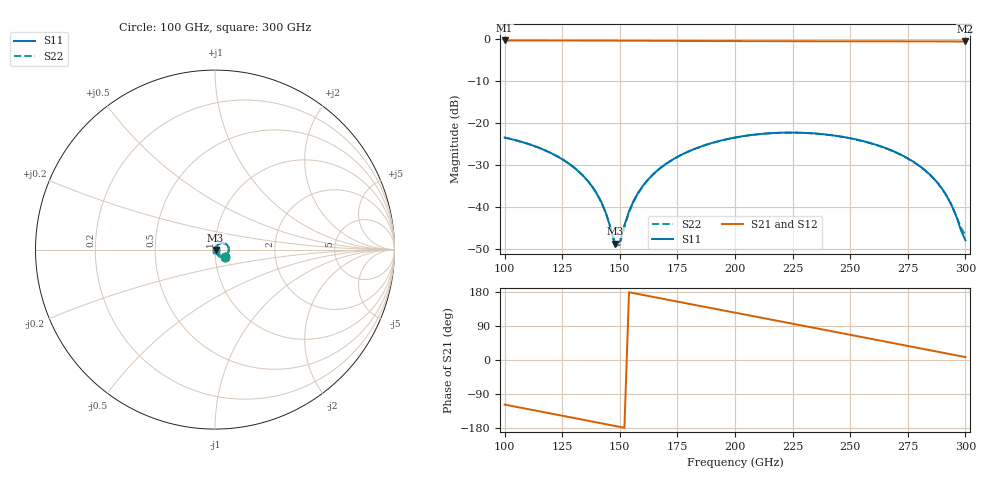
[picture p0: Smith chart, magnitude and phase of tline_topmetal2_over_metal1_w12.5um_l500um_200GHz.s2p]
#  GHZ S DB R 50
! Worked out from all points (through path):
!   101 points, 100 GHz to 300 GHz, reference 50 ohm
!   highest |S21| = -0.30 dB at 100 GHz (marker M1); lowest = -0.5 dB at 300 GHz (marker M2)
!   group delay of S21, straight-line fit = 3.26 ps
!   lowest |S11| = -48.7 dB at 148 GHz (marker M3), VSWR 1.01, Z = 50.3 - j0.145 ohm
!   |S11| at or under -10 dB: start of sweep to end of sweep
!   |S22| runs from -49.3 to -22.3 dB; largest |S21 - S12| = 1.1e-14
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100  -23.44 -36.6  -0.30 -117.7  -0.30 -117.7  -23.43 -36.9
120  -27.10 -56.8  -0.31 -141.2  -0.31 -141.2  -27.08 -57.2
134  -32.49 -68.3  -0.32 -157.6  -0.32 -157.6  -32.46 -69.1
138  -35.10 -69.8  -0.33 -162.4  -0.33 -162.4  -35.07 -70.8
142  -38.84 -68.0  -0.33 -167.1  -0.33 -167.1  -38.82 -69.6
144  -41.47 -63.7  -0.34 -169.4  -0.34 -169.4  -41.49 -65.9
148  -48.73 -23.2  -0.34 -174.1  -0.34 -174.1  -49.30 -26.7
150  -48.21 24.6  -0.35 -176.5  -0.35 -176.5  -48.94 25.3
154  -41.01 59.0  -0.35 178.8  -0.35 178.8  -41.22 60.5
158  -36.54 63.9  -0.36 174.1  -0.36 174.1  -36.64 64.9
162  -33.58 63.4  -0.37 169.4  -0.37 169.4  -33.64 64.1
168  -30.50 59.7  -0.38 162.3  -0.38 162.3  -30.54 60.2
182  -26.23 46.9  -0.41 145.9  -0.41 145.9  -26.25 47.2
200  -23.42 27.9  -0.45 124.9  -0.45 124.9  -23.44 28.1
218  -22.31 7.9  -0.47 103.9  -0.47 103.9  -22.33 8.0
234  -22.43 -10.1  -0.49 85.2  -0.49 85.2  -22.45 -9.9
250  -23.59 -27.8  -0.50 66.5  -0.50 66.5  -23.61 -27.5
268  -26.52 -46.9  -0.51 45.3  -0.51 45.3  -26.54 -46.4
280  -30.16 -58.1  -0.52 31.2  -0.52 31.2  -30.20 -57.2
288  -34.27 -62.7  -0.53 21.8  -0.53 21.8  -34.30 -61.0
294  -39.53 -59.2  -0.53 14.7  -0.53 14.7  -39.48 -55.9
300  -47.89 -5.8  -0.54 7.7  -0.54 7.7  -46.71 -2.5
